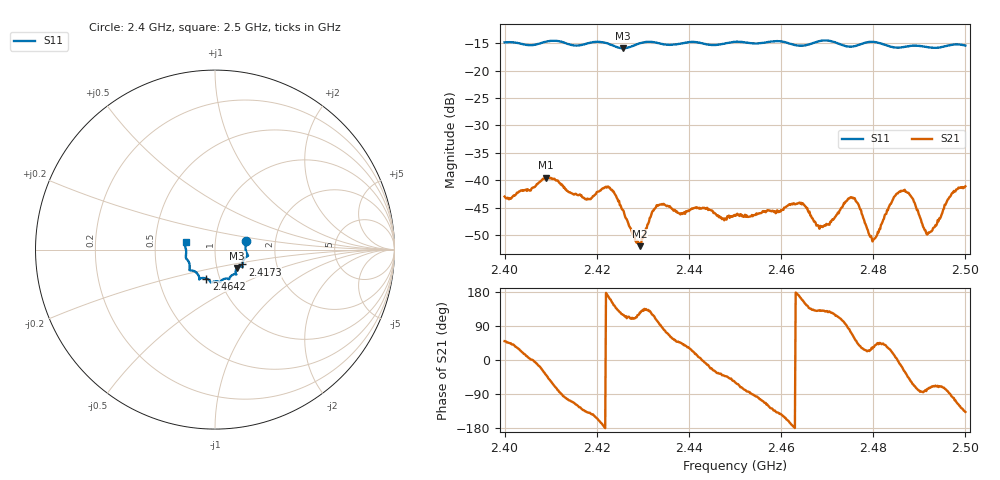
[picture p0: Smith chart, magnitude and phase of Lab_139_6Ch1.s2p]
# Hz S RI R 50
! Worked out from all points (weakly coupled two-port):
!   601 points, 2.4 GHz to 2.5 GHz, reference 50 ohm
!   highest |S21| = -39.48 dB at 2.409 GHz (marker M1); lowest = -52.0 dB at 2.4293 GHz (marker M2)
!   lowest |S11| = -15.9 dB at 2.4257 GHz (marker M3), VSWR 1.38, Z = 62.4 - j13.1 ohm
!   |S11| at or under -10 dB: start of sweep to end of sweep
!   S12 and S22 are empty: the file has one direction only
!   S11 on the Smith chart (normalised r, x): 2.4 GHz: 1.41, +0.14; 2.4173 GHz: 1.34, -0.23; 2.4642 GHz: 0.86, -0.29; 2.5 GHz: 0.72, +0.06
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2.4e9  0.1735 0.049  0.00461 0.00544  0 0  0 0
2.409e9  0.1811 -0.0278  0.0082 -0.00675  0 0  0 0
2.416667e9  0.1533 -0.075  -0.00457 -0.00572  0 0  0 0
2.417333e9  0.1526 -0.0826  -0.00474 -0.00496  0 0  0 0
2.422333e9  0.1492 -0.0946  -0.00866 0.00137  0 0  0 0
2.425667e9  0.1226 -0.1021  -0.00264 0.0047  0 0  0 0
2.428167e9  0.1148 -0.1247  -0.00104 0.00292  0 0  0 0
2.429333e9  0.1164 -0.1332  -0.00145 0.00206  0 0  0 0
2.433333e9  0.113 -0.137  -0.000955 0.00589  0 0  0 0
2.45e9  0.0292 -0.1804  0.0025 -0.00416  0 0  0 0
2.464167e9  -0.0481 -0.1611  -0.00593 0.0016  0 0  0 0
2.466667e9  -0.076 -0.1593  -0.0031 0.00334  0 0  0 0
2.468167e9  -0.0854 -0.164  -0.00248 0.00289  0 0  0 0
2.47e9  -0.0875 -0.1658  -0.0025 0.00308  0 0  0 0
2.4755e9  -0.1107 -0.1227  0.00277 0.00631  0 0  0 0
2.480167e9  -0.143 -0.113  0.00241 0.00164  0 0  0 0
2.483333e9  -0.1406 -0.0901  0.00487 0.00285  0 0  0 0
2.485167e9  -0.1455 -0.0704  0.00759 0.000296  0 0  0 0
2.487333e9  -0.1568 -0.0543  0.00592 -0.00505  0 0  0 0
2.492e9  -0.1606 -0.0253  0.000827 -0.00326  0 0  0 0
2.497e9  -0.1694 0.0261  -0.000752 -0.00751  0 0  0 0
2.5e9  -0.1635 0.0414  -0.00647 -0.00602  0 0  0 0
